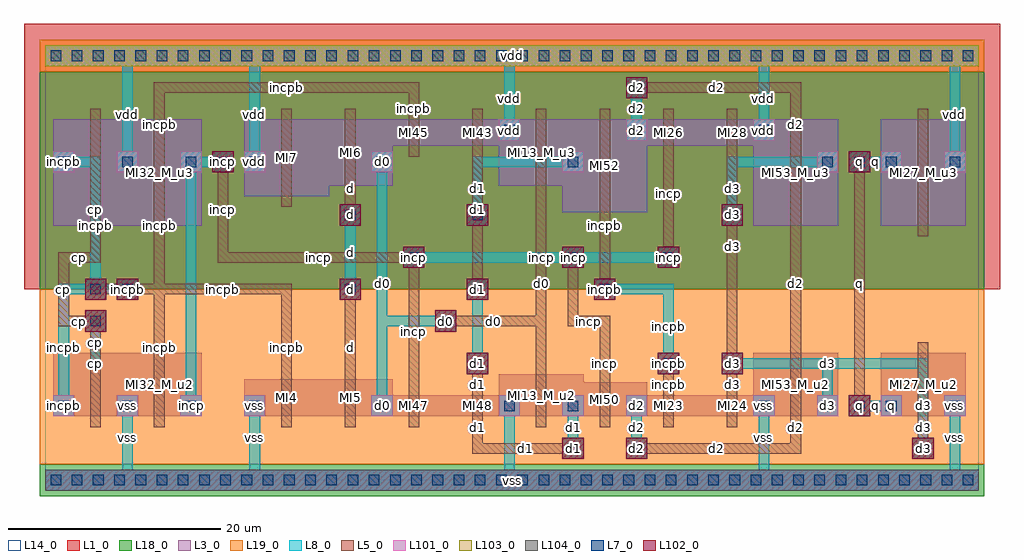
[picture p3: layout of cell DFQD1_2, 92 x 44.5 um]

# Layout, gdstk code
import gdstk
lib = gdstk.Library(unit=1e-6, precision=1e-09)
def R(c, l, rs):  # rectangles x0, y0, x1, y1
    for r in rs: c.add(gdstk.rectangle(r[:2], r[2:], *l))
def A(c, l, x, y, w, h, nx, ny, dx, dy):  # array of equal rectangles
    R(c, l, [(x+i*dx, y+j*dy, x+i*dx+w, y+j*dy+h) for i in range(nx) for j in range(ny)])
L1_0 = (1, 0)
L3_0 = (3, 0)
L5_0 = (5, 0)
L7_0 = (7, 0)
L8_0 = (8, 0)
L13_0 = (13, 0)
L14_0 = (14, 0)
L18_0 = (18, 0)
L19_0 = (19, 0)
L101_0 = (101, 0)
L102_0 = (102, 0)
L103_0 = (103, 0)
L104_0 = (104, 0)

dfqd1_2 = lib.new_cell('DFQD1_2')
R(dfqd1_2, L1_0, [(-2,18,90,43)])
A(dfqd1_2, L3_0, 0.75, 6, 2, 2, 4, 2, 6, 23)
A(dfqd1_2, L3_0, 42.75, 6, 2, 2, 3, 1, 6, 0)
A(dfqd1_2, L3_0, 66.75, 6, 2, 2, 4, 1, 6, 0)
A(dfqd1_2, L3_0, 72.75, 29, 2, 2, 3, 1, 6, 0)
A(dfqd1_2, L3_0, 42.75, 32, 2, 2, 3, 1, 12, 0)
R(dfqd1_2, L3_0, [(0,-1,88,1), (0,-1,88,1), (0.75,6,8.75,12), (6.75,6,14.75,12), (18.75,6,26.75,9.5), (24.75,6,32.75,9.5), (30.75,6,38.75,8), (30.75,6,32.75,8), (36.75,6,44.75,8), (42.75,6,50.75,10), (48.75,6,56.75,9.25), (54.75,6,62.75,8), (60.75,6,68.75,8), (66.75,6,74.75,12), (78.75,6,86.75,12), (0.75,24,8.75,34), (6.75,24,14.75,34), (66.75,24,74.75,34), (78.75,24,86.75,34), (48.75,25.25,56.75,34), (18.75,26.75,26.75,34), (24.75,27.75,32.75,34), (42.75,27.75,50.75,34), (30.75,29,32.75,31), (48.75,29,50.75,31), (30.75,31.5,38.75,34), (36.75,31.5,44.75,34), (54.75,31.5,62.75,34), (60.75,31.5,68.75,34), (0,39,88,41), (0,39,88,41)])
A(dfqd1_2, L5_0, 27.75, 17, 2, 2, 3, 1, 12, 0)
R(dfqd1_2, L5_0, [(48.75,2,50.75,4), (54.75,2,56.75,4), (81.75,2,83.75,4), (40.25,2.5,41.25,7.5), (40.25,2.5,50.25,3.5), (55.25,2.5,71.25,3.5), (70.25,2.5,71.25,7.5), (82.25,2.5,83.25,7.5), (4.25,5,5.25,13), (10.25,5,11.25,13), (22.25,5,23.25,10.5), (28.25,5,29.25,10.5), (34.25,5,35.25,9), (40.25,5,41.25,9), (46.25,5,47.25,11), (52.25,5,53.25,10.25), (58.25,5,59.25,9), (64.25,5,65.25,9), (70.25,5,71.25,13), (82.25,5,83.25,13), (75.75,6,77.75,8), (4.25,6.5,5.25,15.5), (10.25,6.5,11.25,18.5), (22.25,6.5,23.25,18.5), (28.25,6.5,29.25,18.5), (34.25,6.5,35.25,21.5), (40.25,6.5,41.25,11.5), (46.25,6.5,47.25,30.5), (52.25,6.5,53.25,15.5), (58.25,6.5,59.25,11.5), (64.25,6.5,65.25,11.5), (70.25,6.5,71.25,30.5), (76.25,6.5,77.25,30.5), (39.75,10,41.75,12), (57.75,10,59.75,12), (63.75,10,65.75,12), (64.25,10.5,65.25,33.5), (3.75,14,5.75,16), (36.75,14,38.75,16), (1.25,14.5,5.25,15.5), (1.25,14.5,2.25,21.5), (37.25,14.5,47.25,15.5), (49.25,14.5,53.25,15.5), (49.25,14.5,50.25,21.5), (3.75,17,5.75,19), (6.75,17,8.75,19), (4.25,17.5,11.25,18.5), (7.25,17.5,11.25,18.5), (10.25,17.5,23.25,18.5), (10.25,17.5,11.25,30.5), (40.25,17.5,41.25,33.5), (52.25,17.5,53.25,30.5), (33.75,20,35.75,22), (48.75,20,50.75,22), (57.75,20,59.75,22), (1.25,20.5,5.25,21.5), (4.25,20.5,5.25,30.5), (16.25,20.5,35.25,21.5), (16.25,20.5,17.25,30.5), (58.25,20.5,59.25,33.5), (4.25,23,5.25,35), (10.25,23,11.25,35), (70.25,23,71.25,35), (82.25,23,83.25,35), (27.75,24,29.75,26), (39.75,24,41.75,26), (63.75,24,65.75,26), (52.25,24.25,53.25,35), (28.25,24.5,29.25,30.5), (22.25,25.75,23.25,35), (28.25,26.75,29.25,35), (46.25,26.75,47.25,35), (15.75,29,17.75,31), (75.75,29,77.75,31), (10.25,29.5,11.25,37.5), (70.25,29.5,71.25,37.5), (34.25,30.5,35.25,35), (40.25,30.5,41.25,35), (58.25,30.5,59.25,35), (64.25,30.5,65.25,35), (34.25,32.5,35.25,37.5), (54.75,36,56.75,38), (10.25,36.5,35.25,37.5), (55.25,36.5,71.25,37.5)])
A(dfqd1_2, L7_0, 0.5, -0.5, 1, 1, 44, 2, 2, 40)
A(dfqd1_2, L7_0, 1.25, 6.5, 1, 1, 4, 1, 6, 0)
A(dfqd1_2, L7_0, 43.25, 6.5, 1, 1, 3, 1, 6, 0)
A(dfqd1_2, L7_0, 73.25, 6.5, 1, 1, 3, 2, 3, 23)
A(dfqd1_2, L7_0, 28.25, 17.5, 1, 1, 3, 1, 12, 0)
A(dfqd1_2, L7_0, 1.25, 29.5, 1, 1, 3, 1, 6, 0)
A(dfqd1_2, L7_0, 43.25, 32.5, 1, 1, 3, 1, 12, 0)
R(dfqd1_2, L7_0, [(49.25,2.5,50.25,3.5), (55.25,2.5,56.25,3.5), (82.25,2.5,83.25,3.5), (31.25,6.5,32.25,7.5), (67.25,6.5,68.25,7.5), (85.25,6.5,86.25,7.5), (40.25,10.5,41.25,11.5), (58.25,10.5,59.25,11.5), (64.25,10.5,65.25,11.5), (4.25,14.5,5.25,15.5), (37.25,14.5,38.25,15.5), (4.25,17.5,5.25,18.5), (7.25,17.5,8.25,18.5), (34.25,20.5,35.25,21.5), (49.25,20.5,50.25,21.5), (58.25,20.5,59.25,21.5), (28.25,24.5,29.25,25.5), (40.25,24.5,41.25,25.5), (64.25,24.5,65.25,25.5), (16.25,29.5,17.25,30.5), (19.25,29.5,20.25,30.5), (31.25,29.5,32.25,30.5), (49.25,29.5,50.25,30.5), (85.25,29.5,86.25,30.5), (55.25,36.5,56.25,37.5)])
A(dfqd1_2, L8_0, 19.25, 0.5, 1, 7, 3, 1, 24, 0)
A(dfqd1_2, L8_0, 0.75, 6, 2, 2, 4, 1, 6, 0)
A(dfqd1_2, L8_0, 42.75, 6, 2, 2, 3, 1, 6, 0)
A(dfqd1_2, L8_0, 72.75, 6, 2, 2, 3, 2, 3, 23)
A(dfqd1_2, L8_0, 27.75, 17, 2, 2, 3, 1, 12, 0)
A(dfqd1_2, L8_0, 0.75, 29, 2, 2, 3, 1, 6, 0)
A(dfqd1_2, L8_0, 42.75, 32, 2, 2, 3, 1, 12, 0)
R(dfqd1_2, L8_0, [(0,-1,88,1), (7.25,0.5,8.25,7.5), (85.25,0.5,86.25,7.5), (48.75,2,50.75,4), (54.75,2,56.75,4), (81.75,2,83.75,4), (49.25,2.5,50.25,7.5), (55.25,2.5,56.25,7.5), (82.25,2.5,83.25,11.5), (30.75,6,32.75,8), (66.75,6,68.75,8), (84.75,6,86.75,8), (1.25,6.5,2.25,18.5), (13.25,6.5,14.25,30.5), (31.25,6.5,32.25,30.5), (73.25,6.5,74.25,11.5), (76.25,6.5,80.25,7.5), (39.75,10,41.75,12), (57.75,10,59.75,12), (63.75,10,65.75,12), (4.25,10.5,5.25,15.5), (40.25,10.5,41.25,18.5), (58.25,10.5,59.25,18.5), (64.25,10.5,83.25,11.5), (3.75,14,5.75,16), (36.75,14,38.75,16), (31.25,14.5,38.25,15.5), (3.75,17,5.75,19), (6.75,17,8.75,19), (1.25,17.5,8.25,18.5), (1.25,17.5,5.25,18.5), (4.25,17.5,5.25,30.5), (28.25,17.5,29.25,25.5), (52.25,17.5,59.25,18.5), (33.75,20,35.75,22), (48.75,20,50.75,22), (57.75,20,59.75,22), (34.25,20.5,59.25,21.5), (27.75,24,29.75,26), (39.75,24,41.75,26), (63.75,24,65.75,26), (40.25,24.5,41.25,30.5), (64.25,24.5,65.25,30.5), (15.75,29,17.75,31), (18.75,29,20.75,31), (30.75,29,32.75,31), (48.75,29,50.75,31), (84.75,29,86.75,31), (1.25,29.5,5.25,30.5), (7.25,29.5,8.25,39.5), (13.25,29.5,17.25,30.5), (19.25,29.5,20.25,39.5), (40.25,29.5,50.25,30.5), (64.25,29.5,74.25,30.5), (76.25,29.5,80.25,30.5), (85.25,29.5,86.25,39.5), (43.25,32.5,44.25,39.5), (55.25,32.5,56.25,37.5), (67.25,32.5,68.25,39.5), (54.75,36,56.75,38), (0,39,88,41)])
R(dfqd1_2, L14_0, [(0,0,88,40)])
R(dfqd1_2, L18_0, [(-0.5,-1.5,88.5,1.5), (-0.5,18,88.5,38.5)])
R(dfqd1_2, L19_0, [(-0.5,1.5,88.5,18), (-0.5,38.5,88.5,41.5)])
A(dfqd1_2, L101_0, 0, -1, 2, 2, 44, 2, 2, 40)
A(dfqd1_2, L101_0, 0.75, 6, 2, 2, 4, 2, 6, 23)
A(dfqd1_2, L101_0, 42.75, 6, 2, 2, 3, 1, 6, 0)
A(dfqd1_2, L101_0, 66.75, 6, 2, 2, 4, 1, 6, 0)
A(dfqd1_2, L101_0, 72.75, 29, 2, 2, 3, 1, 6, 0)
A(dfqd1_2, L101_0, 42.75, 32, 2, 2, 3, 1, 12, 0)
R(dfqd1_2, L101_0, [(30.75,6,32.75,8), (30.75,29,32.75,31), (48.75,29,50.75,31)])
A(dfqd1_2, L102_0, 27.75, 17, 2, 2, 3, 1, 12, 0)
R(dfqd1_2, L102_0, [(48.75,2,50.75,4), (54.75,2,56.75,4), (81.75,2,83.75,4), (75.75,6,77.75,8), (39.75,10,41.75,12), (57.75,10,59.75,12), (63.75,10,65.75,12), (3.75,14,5.75,16), (36.75,14,38.75,16), (3.75,17,5.75,19), (6.75,17,8.75,19), (33.75,20,35.75,22), (48.75,20,50.75,22), (57.75,20,59.75,22), (27.75,24,29.75,26), (39.75,24,41.75,26), (63.75,24,65.75,26), (15.75,29,17.75,31), (75.75,29,77.75,31), (54.75,36,56.75,38)])
R(dfqd1_2, L103_0, [(0,39,88,41)])
R(dfqd1_2, L104_0, [(0,-1,88,1)])
dfqd1_2.add(gdstk.FlexPath([(0.75,3),(86.75,3)], 0, ends="flush", simple_path=True, layer=13, datatype=0))  # L13_0
dfqd1_2.add(gdstk.FlexPath([(0.75,7),(86.75,7)], 0, ends="flush", simple_path=True, layer=13, datatype=0))  # L13_0
dfqd1_2.add(gdstk.FlexPath([(0.75,11),(86.75,11)], 0, ends="flush", simple_path=True, layer=13, datatype=0))  # L13_0
dfqd1_2.add(gdstk.FlexPath([(0.75,15),(86.75,15)], 0, ends="flush", simple_path=True, layer=13, datatype=0))  # L13_0
dfqd1_2.add(gdstk.FlexPath([(0.75,18),(86.75,18)], 0, ends="flush", simple_path=True, layer=13, datatype=0))  # L13_0
dfqd1_2.add(gdstk.FlexPath([(0.75,21),(86.75,21)], 0, ends="flush", simple_path=True, layer=13, datatype=0))  # L13_0
dfqd1_2.add(gdstk.FlexPath([(0.75,25),(86.75,25)], 0, ends="flush", simple_path=True, layer=13, datatype=0))  # L13_0
dfqd1_2.add(gdstk.FlexPath([(0.75,30),(86.75,30)], 0, ends="flush", simple_path=True, layer=13, datatype=0))  # L13_0
dfqd1_2.add(gdstk.FlexPath([(0.75,33),(86.75,33)], 0, ends="flush", simple_path=True, layer=13, datatype=0))  # L13_0
dfqd1_2.add(gdstk.FlexPath([(0.75,37),(86.75,37)], 0, ends="flush", simple_path=True, layer=13, datatype=0))  # L13_0
dfqd1_2.add(gdstk.FlexPath([(1.75,0.5),(1.75,39.5)], 0, ends="flush", simple_path=True, layer=13, datatype=0))  # L13_0
dfqd1_2.add(gdstk.FlexPath([(4.75,0.5),(4.75,39.5)], 0, ends="flush", simple_path=True, layer=13, datatype=0))  # L13_0
dfqd1_2.add(gdstk.FlexPath([(7.75,0.5),(7.75,39.5)], 0, ends="flush", simple_path=True, layer=13, datatype=0))  # L13_0
dfqd1_2.add(gdstk.FlexPath([(10.75,0.5),(10.75,39.5)], 0, ends="flush", simple_path=True, layer=13, datatype=0))  # L13_0
dfqd1_2.add(gdstk.FlexPath([(13.75,0.5),(13.75,39.5)], 0, ends="flush", simple_path=True, layer=13, datatype=0))  # L13_0
dfqd1_2.add(gdstk.FlexPath([(16.75,0.5),(16.75,39.5)], 0, ends="flush", simple_path=True, layer=13, datatype=0))  # L13_0
dfqd1_2.add(gdstk.FlexPath([(19.75,0.5),(19.75,39.5)], 0, ends="flush", simple_path=True, layer=13, datatype=0))  # L13_0
dfqd1_2.add(gdstk.FlexPath([(22.75,0.5),(22.75,39.5)], 0, ends="flush", simple_path=True, layer=13, datatype=0))  # L13_0
dfqd1_2.add(gdstk.FlexPath([(25.75,0.5),(25.75,39.5)], 0, ends="flush", simple_path=True, layer=13, datatype=0))  # L13_0
dfqd1_2.add(gdstk.FlexPath([(28.75,0.5),(28.75,39.5)], 0, ends="flush", simple_path=True, layer=13, datatype=0))  # L13_0
dfqd1_2.add(gdstk.FlexPath([(31.75,0.5),(31.75,39.5)], 0, ends="flush", simple_path=True, layer=13, datatype=0))  # L13_0
dfqd1_2.add(gdstk.FlexPath([(34.75,0.5),(34.75,39.5)], 0, ends="flush", simple_path=True, layer=13, datatype=0))  # L13_0
dfqd1_2.add(gdstk.FlexPath([(37.75,0.5),(37.75,39.5)], 0, ends="flush", simple_path=True, layer=13, datatype=0))  # L13_0
dfqd1_2.add(gdstk.FlexPath([(40.75,0.5),(40.75,39.5)], 0, ends="flush", simple_path=True, layer=13, datatype=0))  # L13_0
dfqd1_2.add(gdstk.FlexPath([(43.75,0.5),(43.75,39.5)], 0, ends="flush", simple_path=True, layer=13, datatype=0))  # L13_0
dfqd1_2.add(gdstk.FlexPath([(46.75,0.5),(46.75,39.5)], 0, ends="flush", simple_path=True, layer=13, datatype=0))  # L13_0
dfqd1_2.add(gdstk.FlexPath([(49.75,0.5),(49.75,39.5)], 0, ends="flush", simple_path=True, layer=13, datatype=0))  # L13_0
dfqd1_2.add(gdstk.FlexPath([(52.75,0.5),(52.75,39.5)], 0, ends="flush", simple_path=True, layer=13, datatype=0))  # L13_0
dfqd1_2.add(gdstk.FlexPath([(55.75,0.5),(55.75,39.5)], 0, ends="flush", simple_path=True, layer=13, datatype=0))  # L13_0
dfqd1_2.add(gdstk.FlexPath([(58.75,0.5),(58.75,39.5)], 0, ends="flush", simple_path=True, layer=13, datatype=0))  # L13_0
dfqd1_2.add(gdstk.FlexPath([(61.75,0.5),(61.75,39.5)], 0, ends="flush", simple_path=True, layer=13, datatype=0))  # L13_0
dfqd1_2.add(gdstk.FlexPath([(64.75,0.5),(64.75,39.5)], 0, ends="flush", simple_path=True, layer=13, datatype=0))  # L13_0
dfqd1_2.add(gdstk.FlexPath([(67.75,0.5),(67.75,39.5)], 0, ends="flush", simple_path=True, layer=13, datatype=0))  # L13_0
dfqd1_2.add(gdstk.FlexPath([(70.75,0.5),(70.75,39.5)], 0, ends="flush", simple_path=True, layer=13, datatype=0))  # L13_0
dfqd1_2.add(gdstk.FlexPath([(73.75,0.5),(73.75,39.5)], 0, ends="flush", simple_path=True, layer=13, datatype=0))  # L13_0
dfqd1_2.add(gdstk.FlexPath([(76.75,0.5),(76.75,39.5)], 0, ends="flush", simple_path=True, layer=13, datatype=0))  # L13_0
dfqd1_2.add(gdstk.FlexPath([(79.75,0.5),(79.75,39.5)], 0, ends="flush", simple_path=True, layer=13, datatype=0))  # L13_0
dfqd1_2.add(gdstk.FlexPath([(82.75,0.5),(82.75,39.5)], 0, ends="flush", simple_path=True, layer=13, datatype=0))  # L13_0
dfqd1_2.add(gdstk.FlexPath([(85.75,0.5),(85.75,39.5)], 0, ends="flush", simple_path=True, layer=13, datatype=0))  # L13_0
dfqd1_2.add(gdstk.Label('MI4', (22.75,7.75), layer=3, texttype=0))
dfqd1_2.add(gdstk.Label('MI23', (58.75,7), layer=3, texttype=0))
dfqd1_2.add(gdstk.Label('MI5', (28.75,7.75), layer=3, texttype=0))
dfqd1_2.add(gdstk.Label('MI47', (34.75,7), layer=3, texttype=0))
dfqd1_2.add(gdstk.Label('MI48', (40.75,7), layer=3, texttype=0))
dfqd1_2.add(gdstk.Label('MI24', (64.75,7), layer=3, texttype=0))
dfqd1_2.add(gdstk.Label('MI50', (52.75,7.625), layer=3, texttype=0))
dfqd1_2.add(gdstk.Label('MI32_M_u2', (10.75,9), layer=3, texttype=0))
dfqd1_2.add(gdstk.Label('MI31_M_u2', (4.75,9), layer=3, texttype=0))
dfqd1_2.add(gdstk.Label('MI27_M_u2', (82.75,9), layer=3, texttype=0))
dfqd1_2.add(gdstk.Label('MI53_M_u2', (70.75,9), layer=3, texttype=0))
dfqd1_2.add(gdstk.Label('MI13_M_u2', (46.75,8), layer=3, texttype=0))
dfqd1_2.add(gdstk.Label('MI6', (28.75,30.875), layer=3, texttype=0))
dfqd1_2.add(gdstk.Label('MI32_M_u3', (10.75,29), layer=3, texttype=0))
dfqd1_2.add(gdstk.Label('MI31_M_u3', (4.75,29), layer=3, texttype=0))
dfqd1_2.add(gdstk.Label('MI27_M_u3', (82.75,29), layer=3, texttype=0))
dfqd1_2.add(gdstk.Label('MI53_M_u3', (70.75,29), layer=3, texttype=0))
dfqd1_2.add(gdstk.Label('MI13_M_u3', (46.75,30.875), layer=3, texttype=0))
dfqd1_2.add(gdstk.Label('MI7', (22.75,30.375), layer=3, texttype=0))
dfqd1_2.add(gdstk.Label('MI52', (52.75,29.625), layer=3, texttype=0))
dfqd1_2.add(gdstk.Label('MI28', (64.75,32.75), layer=3, texttype=0))
dfqd1_2.add(gdstk.Label('MI26', (58.75,32.75), layer=3, texttype=0))
dfqd1_2.add(gdstk.Label('MI45', (34.75,32.75), layer=3, texttype=0))
dfqd1_2.add(gdstk.Label('MI43', (40.75,32.75), layer=3, texttype=0))
dfqd1_2.add(gdstk.Label('incpb', (1.75,7), layer=3, texttype=0))
dfqd1_2.add(gdstk.Label('incpb', (1.75,30), layer=3, texttype=0))
dfqd1_2.add(gdstk.Label('d2', (55.75,7), layer=3, texttype=0))
dfqd1_2.add(gdstk.Label('d2', (55.75,33), layer=3, texttype=0))
dfqd1_2.add(gdstk.Label('d0', (31.75,7), layer=3, texttype=0))
dfqd1_2.add(gdstk.Label('d0', (31.75,30), layer=3, texttype=0))
dfqd1_2.add(gdstk.Label('incp', (13.75,7), layer=3, texttype=0))
dfqd1_2.add(gdstk.Label('incp', (13.75,30), layer=3, texttype=0))
dfqd1_2.add(gdstk.Label('d1', (49.75,7), layer=3, texttype=0))
dfqd1_2.add(gdstk.Label('d1', (49.75,30), layer=3, texttype=0))
dfqd1_2.add(gdstk.Label('d3', (73.75,7), layer=3, texttype=0))
dfqd1_2.add(gdstk.Label('d3', (73.75,30), layer=3, texttype=0))
dfqd1_2.add(gdstk.Label('q', (79.75,7), layer=3, texttype=0))
dfqd1_2.add(gdstk.Label('q', (79.75,30), layer=3, texttype=0))
dfqd1_2.add(gdstk.Label('vss', (19.75,7), layer=3, texttype=0))
dfqd1_2.add(gdstk.Label('vss', (43.75,7), layer=3, texttype=0))
dfqd1_2.add(gdstk.Label('vss', (67.75,7), layer=3, texttype=0))
dfqd1_2.add(gdstk.Label('vss', (7.75,7), layer=3, texttype=0))
dfqd1_2.add(gdstk.Label('vss', (85.75,7), layer=3, texttype=0))
dfqd1_2.add(gdstk.Label('vdd', (7.75,30), layer=3, texttype=0))
dfqd1_2.add(gdstk.Label('vdd', (85.75,30), layer=3, texttype=0))
dfqd1_2.add(gdstk.Label('vdd', (67.75,33), layer=3, texttype=0))
dfqd1_2.add(gdstk.Label('vdd', (43.75,33), layer=3, texttype=0))
dfqd1_2.add(gdstk.Label('vdd', (19.75,30), layer=3, texttype=0))
dfqd1_2.add(gdstk.Label('incpb', (22.75,12.5), layer=5, texttype=0))
dfqd1_2.add(gdstk.Label('incpb', (16.75,18), layer=5, texttype=0))
dfqd1_2.add(gdstk.Label('incpb', (10.75,24), layer=5, texttype=0))
dfqd1_2.add(gdstk.Label('incpb', (10.75,33.5), layer=5, texttype=0))
dfqd1_2.add(gdstk.Label('incpb', (22.75,37), layer=5, texttype=0))
dfqd1_2.add(gdstk.Label('incpb', (34.75,35), layer=5, texttype=0))
dfqd1_2.add(gdstk.Label('incpb', (58.75,9), layer=5, texttype=0))
dfqd1_2.add(gdstk.Label('incpb', (58.75,11), layer=5, texttype=0))
dfqd1_2.add(gdstk.Label('incpb', (52.75,18), layer=5, texttype=0))
dfqd1_2.add(gdstk.Label('incpb', (52.75,24), layer=5, texttype=0))
dfqd1_2.add(gdstk.Label('incpb', (10.75,12.5), layer=5, texttype=0))
dfqd1_2.add(gdstk.Label('incpb', (7.75,18), layer=5, texttype=0))
dfqd1_2.add(gdstk.Label('incpb', (4.75,18), layer=5, texttype=0))
dfqd1_2.add(gdstk.Label('incpb', (7.75,18), layer=5, texttype=0))
dfqd1_2.add(gdstk.Label('incpb', (9.25,18), layer=5, texttype=0))
dfqd1_2.add(gdstk.Label('d2', (55.75,3), layer=5, texttype=0))
dfqd1_2.add(gdstk.Label('d2', (63.25,3), layer=5, texttype=0))
dfqd1_2.add(gdstk.Label('d2', (70.75,5), layer=5, texttype=0))
dfqd1_2.add(gdstk.Label('d2', (70.75,18.5), layer=5, texttype=0))
dfqd1_2.add(gdstk.Label('d2', (70.75,33.5), layer=5, texttype=0))
dfqd1_2.add(gdstk.Label('d2', (63.25,37), layer=5, texttype=0))
dfqd1_2.add(gdstk.Label('d2', (55.75,37), layer=5, texttype=0))
dfqd1_2.add(gdstk.Label('d0', (46.75,18.5), layer=5, texttype=0))
dfqd1_2.add(gdstk.Label('d0', (37.75,15), layer=5, texttype=0))
dfqd1_2.add(gdstk.Label('d0', (42.25,15), layer=5, texttype=0))
dfqd1_2.add(gdstk.Label('d', (28.75,12.5), layer=5, texttype=0))
dfqd1_2.add(gdstk.Label('d', (28.75,18), layer=5, texttype=0))
dfqd1_2.add(gdstk.Label('d', (28.75,25), layer=5, texttype=0))
dfqd1_2.add(gdstk.Label('d', (28.75,27.5), layer=5, texttype=0))
dfqd1_2.add(gdstk.Label('incp', (34.75,14), layer=5, texttype=0))
dfqd1_2.add(gdstk.Label('incp', (25.75,21), layer=5, texttype=0))
dfqd1_2.add(gdstk.Label('incp', (16.75,25.5), layer=5, texttype=0))
dfqd1_2.add(gdstk.Label('incp', (16.75,30), layer=5, texttype=0))
dfqd1_2.add(gdstk.Label('incp', (34.75,21), layer=5, texttype=0))
dfqd1_2.add(gdstk.Label('incp', (58.75,21), layer=5, texttype=0))
dfqd1_2.add(gdstk.Label('incp', (58.75,27), layer=5, texttype=0))
dfqd1_2.add(gdstk.Label('incp', (52.75,11), layer=5, texttype=0))
dfqd1_2.add(gdstk.Label('incp', (51.25,15), layer=5, texttype=0))
dfqd1_2.add(gdstk.Label('incp', (49.75,18), layer=5, texttype=0))
dfqd1_2.add(gdstk.Label('incp', (49.75,21), layer=5, texttype=0))
dfqd1_2.add(gdstk.Label('d1', (40.75,5), layer=5, texttype=0))
dfqd1_2.add(gdstk.Label('d1', (45.25,3), layer=5, texttype=0))
dfqd1_2.add(gdstk.Label('d1', (49.75,3), layer=5, texttype=0))
dfqd1_2.add(gdstk.Label('d1', (40.75,9), layer=5, texttype=0))
dfqd1_2.add(gdstk.Label('d1', (40.75,11), layer=5, texttype=0))
dfqd1_2.add(gdstk.Label('d1', (40.75,18), layer=5, texttype=0))
dfqd1_2.add(gdstk.Label('d1', (40.75,25.5), layer=5, texttype=0))
dfqd1_2.add(gdstk.Label('d1', (40.75,25), layer=5, texttype=0))
dfqd1_2.add(gdstk.Label('d3', (64.75,9), layer=5, texttype=0))
dfqd1_2.add(gdstk.Label('d3', (64.75,11), layer=5, texttype=0))
dfqd1_2.add(gdstk.Label('d3', (82.75,3), layer=5, texttype=0))
dfqd1_2.add(gdstk.Label('d3', (82.75,5), layer=5, texttype=0))
dfqd1_2.add(gdstk.Label('d3', (64.75,22), layer=5, texttype=0))
dfqd1_2.add(gdstk.Label('d3', (64.75,25), layer=5, texttype=0))
dfqd1_2.add(gdstk.Label('cp', (4.75,11), layer=5, texttype=0))
dfqd1_2.add(gdstk.Label('cp', (3.25,15), layer=5, texttype=0))
dfqd1_2.add(gdstk.Label('cp', (1.75,18), layer=5, texttype=0))
dfqd1_2.add(gdstk.Label('cp', (3.25,21), layer=5, texttype=0))
dfqd1_2.add(gdstk.Label('cp', (4.75,25.5), layer=5, texttype=0))
dfqd1_2.add(gdstk.Label('cp', (4.75,15), layer=5, texttype=0))
dfqd1_2.add(gdstk.Label('q', (76.75,7), layer=5, texttype=0))
dfqd1_2.add(gdstk.Label('q', (76.75,18.5), layer=5, texttype=0))
dfqd1_2.add(gdstk.Label('q', (76.75,30), layer=5, texttype=0))
dfqd1_2.add(gdstk.Label('incpb', (1.75,7), layer=101, texttype=0))
dfqd1_2.add(gdstk.Label('incpb', (1.75,30), layer=101, texttype=0))
dfqd1_2.add(gdstk.Label('d2', (55.75,7), layer=101, texttype=0))
dfqd1_2.add(gdstk.Label('d2', (55.75,33), layer=101, texttype=0))
dfqd1_2.add(gdstk.Label('d0', (31.75,7), layer=101, texttype=0))
dfqd1_2.add(gdstk.Label('d0', (31.75,30), layer=101, texttype=0))
dfqd1_2.add(gdstk.Label('incp', (13.75,7), layer=101, texttype=0))
dfqd1_2.add(gdstk.Label('incp', (13.75,30), layer=101, texttype=0))
dfqd1_2.add(gdstk.Label('d1', (49.75,7), layer=101, texttype=0))
dfqd1_2.add(gdstk.Label('d1', (49.75,30), layer=101, texttype=0))
dfqd1_2.add(gdstk.Label('d3', (73.75,7), layer=101, texttype=0))
dfqd1_2.add(gdstk.Label('d3', (73.75,30), layer=101, texttype=0))
dfqd1_2.add(gdstk.Label('q', (79.75,7), layer=101, texttype=0))
dfqd1_2.add(gdstk.Label('q', (79.75,30), layer=101, texttype=0))
dfqd1_2.add(gdstk.Label('vss', (19.75,7), layer=101, texttype=0))
dfqd1_2.add(gdstk.Label('vss', (43.75,7), layer=101, texttype=0))
dfqd1_2.add(gdstk.Label('vss', (67.75,7), layer=101, texttype=0))
dfqd1_2.add(gdstk.Label('vss', (7.75,7), layer=101, texttype=0))
dfqd1_2.add(gdstk.Label('vss', (85.75,7), layer=101, texttype=0))
dfqd1_2.add(gdstk.Label('vdd', (7.75,30), layer=101, texttype=0))
dfqd1_2.add(gdstk.Label('vdd', (85.75,30), layer=101, texttype=0))
dfqd1_2.add(gdstk.Label('vdd', (67.75,33), layer=101, texttype=0))
dfqd1_2.add(gdstk.Label('vdd', (43.75,33), layer=101, texttype=0))
dfqd1_2.add(gdstk.Label('vdd', (19.75,30), layer=101, texttype=0))
dfqd1_2.add(gdstk.Label('incpb', (58.75,11), layer=102, texttype=0))
dfqd1_2.add(gdstk.Label('incpb', (52.75,18), layer=102, texttype=0))
dfqd1_2.add(gdstk.Label('incpb', (4.75,18), layer=102, texttype=0))
dfqd1_2.add(gdstk.Label('incpb', (7.75,18), layer=102, texttype=0))
dfqd1_2.add(gdstk.Label('d2', (55.75,3), layer=102, texttype=0))
dfqd1_2.add(gdstk.Label('d2', (55.75,37), layer=102, texttype=0))
dfqd1_2.add(gdstk.Label('d0', (37.75,15), layer=102, texttype=0))
dfqd1_2.add(gdstk.Label('d', (28.75,18), layer=102, texttype=0))
dfqd1_2.add(gdstk.Label('d', (28.75,25), layer=102, texttype=0))
dfqd1_2.add(gdstk.Label('incp', (16.75,30), layer=102, texttype=0))
dfqd1_2.add(gdstk.Label('incp', (34.75,21), layer=102, texttype=0))
dfqd1_2.add(gdstk.Label('incp', (58.75,21), layer=102, texttype=0))
dfqd1_2.add(gdstk.Label('incp', (49.75,21), layer=102, texttype=0))
dfqd1_2.add(gdstk.Label('d1', (49.75,3), layer=102, texttype=0))
dfqd1_2.add(gdstk.Label('d1', (40.75,11), layer=102, texttype=0))
dfqd1_2.add(gdstk.Label('d1', (40.75,18), layer=102, texttype=0))
dfqd1_2.add(gdstk.Label('d1', (40.75,25), layer=102, texttype=0))
dfqd1_2.add(gdstk.Label('d3', (64.75,11), layer=102, texttype=0))
dfqd1_2.add(gdstk.Label('d3', (82.75,3), layer=102, texttype=0))
dfqd1_2.add(gdstk.Label('d3', (64.75,25), layer=102, texttype=0))
dfqd1_2.add(gdstk.Label('cp', (4.75,15), layer=102, texttype=0))
dfqd1_2.add(gdstk.Label('q', (76.75,7), layer=102, texttype=0))
dfqd1_2.add(gdstk.Label('q', (76.75,30), layer=102, texttype=0))
dfqd1_2.add(gdstk.Label('incpb', (1.75,7), layer=8, texttype=0))
dfqd1_2.add(gdstk.Label('incpb', (1.75,30), layer=8, texttype=0))
dfqd1_2.add(gdstk.Label('incpb', (58.75,11), layer=8, texttype=0))
dfqd1_2.add(gdstk.Label('incpb', (58.75,14.5), layer=8, texttype=0))
dfqd1_2.add(gdstk.Label('incpb', (55.75,18), layer=8, texttype=0))
dfqd1_2.add(gdstk.Label('incpb', (52.75,18), layer=8, texttype=0))
dfqd1_2.add(gdstk.Label('incpb', (4.75,18), layer=8, texttype=0))
dfqd1_2.add(gdstk.Label('incpb', (4.75,24), layer=8, texttype=0))
dfqd1_2.add(gdstk.Label('incpb', (3.25,30), layer=8, texttype=0))
dfqd1_2.add(gdstk.Label('incpb', (1.75,12.5), layer=8, texttype=0))
dfqd1_2.add(gdstk.Label('incpb', (4.75,18), layer=8, texttype=0))
dfqd1_2.add(gdstk.Label('incpb', (7.75,18), layer=8, texttype=0))
dfqd1_2.add(gdstk.Label('incpb', (3.25,18), layer=8, texttype=0))
dfqd1_2.add(gdstk.Label('d2', (55.75,7), layer=8, texttype=0))
dfqd1_2.add(gdstk.Label('d2', (55.75,33), layer=8, texttype=0))
dfqd1_2.add(gdstk.Label('d2', (55.75,5), layer=8, texttype=0))
dfqd1_2.add(gdstk.Label('d2', (55.75,3), layer=8, texttype=0))
dfqd1_2.add(gdstk.Label('d2', (55.75,37), layer=8, texttype=0))
dfqd1_2.add(gdstk.Label('d2', (55.75,35), layer=8, texttype=0))
dfqd1_2.add(gdstk.Label('d0', (31.75,7), layer=8, texttype=0))
dfqd1_2.add(gdstk.Label('d0', (31.75,30), layer=8, texttype=0))
dfqd1_2.add(gdstk.Label('d0', (31.75,18.5), layer=8, texttype=0))
dfqd1_2.add(gdstk.Label('d0', (34.75,15), layer=8, texttype=0))
dfqd1_2.add(gdstk.Label('d0', (37.75,15), layer=8, texttype=0))
dfqd1_2.add(gdstk.Label('d', (28.75,18), layer=8, texttype=0))
dfqd1_2.add(gdstk.Label('d', (28.75,21.5), layer=8, texttype=0))
dfqd1_2.add(gdstk.Label('d', (28.75,25), layer=8, texttype=0))
dfqd1_2.add(gdstk.Label('incp', (13.75,7), layer=8, texttype=0))
dfqd1_2.add(gdstk.Label('incp', (13.75,30), layer=8, texttype=0))
dfqd1_2.add(gdstk.Label('incp', (16.75,30), layer=8, texttype=0))
dfqd1_2.add(gdstk.Label('incp', (15.25,30), layer=8, texttype=0))
dfqd1_2.add(gdstk.Label('incp', (34.75,21), layer=8, texttype=0))
dfqd1_2.add(gdstk.Label('incp', (46.75,21), layer=8, texttype=0))
dfqd1_2.add(gdstk.Label('incp', (58.75,21), layer=8, texttype=0))
dfqd1_2.add(gdstk.Label('incp', (49.75,21), layer=8, texttype=0))
dfqd1_2.add(gdstk.Label('incp', (13.75,18.5), layer=8, texttype=0))
dfqd1_2.add(gdstk.Label('d1', (49.75,7), layer=8, texttype=0))
dfqd1_2.add(gdstk.Label('d1', (49.75,30), layer=8, texttype=0))
dfqd1_2.add(gdstk.Label('d1', (49.75,3), layer=8, texttype=0))
dfqd1_2.add(gdstk.Label('d1', (49.75,5), layer=8, texttype=0))
dfqd1_2.add(gdstk.Label('d1', (40.75,11), layer=8, texttype=0))
dfqd1_2.add(gdstk.Label('d1', (40.75,14.5), layer=8, texttype=0))
dfqd1_2.add(gdstk.Label('d1', (40.75,18), layer=8, texttype=0))
dfqd1_2.add(gdstk.Label('d1', (45.25,30), layer=8, texttype=0))
dfqd1_2.add(gdstk.Label('d1', (40.75,27.5), layer=8, texttype=0))
dfqd1_2.add(gdstk.Label('d1', (40.75,25), layer=8, texttype=0))
dfqd1_2.add(gdstk.Label('d3', (73.75,7), layer=8, texttype=0))
dfqd1_2.add(gdstk.Label('d3', (73.75,30), layer=8, texttype=0))
dfqd1_2.add(gdstk.Label('d3', (64.75,11), layer=8, texttype=0))
dfqd1_2.add(gdstk.Label('d3', (73.75,11), layer=8, texttype=0))
dfqd1_2.add(gdstk.Label('d3', (82.75,7), layer=8, texttype=0))
dfqd1_2.add(gdstk.Label('d3', (82.75,3), layer=8, texttype=0))
dfqd1_2.add(gdstk.Label('d3', (73.75,9), layer=8, texttype=0))
dfqd1_2.add(gdstk.Label('d3', (69.25,30), layer=8, texttype=0))
dfqd1_2.add(gdstk.Label('d3', (64.75,27.5), layer=8, texttype=0))
dfqd1_2.add(gdstk.Label('d3', (64.75,25), layer=8, texttype=0))
dfqd1_2.add(gdstk.Label('cp', (4.75,15), layer=8, texttype=0))
dfqd1_2.add(gdstk.Label('cp', (4.75,13), layer=8, texttype=0))
dfqd1_2.add(gdstk.Label('q', (79.75,7), layer=8, texttype=0))
dfqd1_2.add(gdstk.Label('q', (79.75,30), layer=8, texttype=0))
dfqd1_2.add(gdstk.Label('q', (78.25,7), layer=8, texttype=0))
dfqd1_2.add(gdstk.Label('q', (76.75,7), layer=8, texttype=0))
dfqd1_2.add(gdstk.Label('q', (76.75,30), layer=8, texttype=0))
dfqd1_2.add(gdstk.Label('q', (78.25,30), layer=8, texttype=0))
dfqd1_2.add(gdstk.Label('vss', (19.75,7), layer=8, texttype=0))
dfqd1_2.add(gdstk.Label('vss', (19.75,4), layer=8, texttype=0))
dfqd1_2.add(gdstk.Label('vss', (43.75,7), layer=8, texttype=0))
dfqd1_2.add(gdstk.Label('vss', (43.75,4), layer=8, texttype=0))
dfqd1_2.add(gdstk.Label('vss', (67.75,7), layer=8, texttype=0))
dfqd1_2.add(gdstk.Label('vss', (67.75,4), layer=8, texttype=0))
dfqd1_2.add(gdstk.Label('vss', (7.75,7), layer=8, texttype=0))
dfqd1_2.add(gdstk.Label('vss', (7.75,4), layer=8, texttype=0))
dfqd1_2.add(gdstk.Label('vss', (85.75,7), layer=8, texttype=0))
dfqd1_2.add(gdstk.Label('vss', (85.75,4), layer=8, texttype=0))
dfqd1_2.add(gdstk.Label('vdd', (7.75,30), layer=8, texttype=0))
dfqd1_2.add(gdstk.Label('vdd', (7.75,34.5), layer=8, texttype=0))
dfqd1_2.add(gdstk.Label('vdd', (85.75,30), layer=8, texttype=0))
dfqd1_2.add(gdstk.Label('vdd', (85.75,34.5), layer=8, texttype=0))
dfqd1_2.add(gdstk.Label('vdd', (67.75,33), layer=8, texttype=0))
dfqd1_2.add(gdstk.Label('vdd', (67.75,36), layer=8, texttype=0))
dfqd1_2.add(gdstk.Label('vdd', (43.75,33), layer=8, texttype=0))
dfqd1_2.add(gdstk.Label('vdd', (43.75,36), layer=8, texttype=0))
dfqd1_2.add(gdstk.Label('vdd', (19.75,30), layer=8, texttype=0))
dfqd1_2.add(gdstk.Label('vdd', (19.75,34.5), layer=8, texttype=0))
dfqd1_2.add(gdstk.Label('vss', (44,0), layer=8, texttype=0))
dfqd1_2.add(gdstk.Label('vdd', (44,40), layer=8, texttype=0))

lib.write_gds('DFQD1_2.gds')
